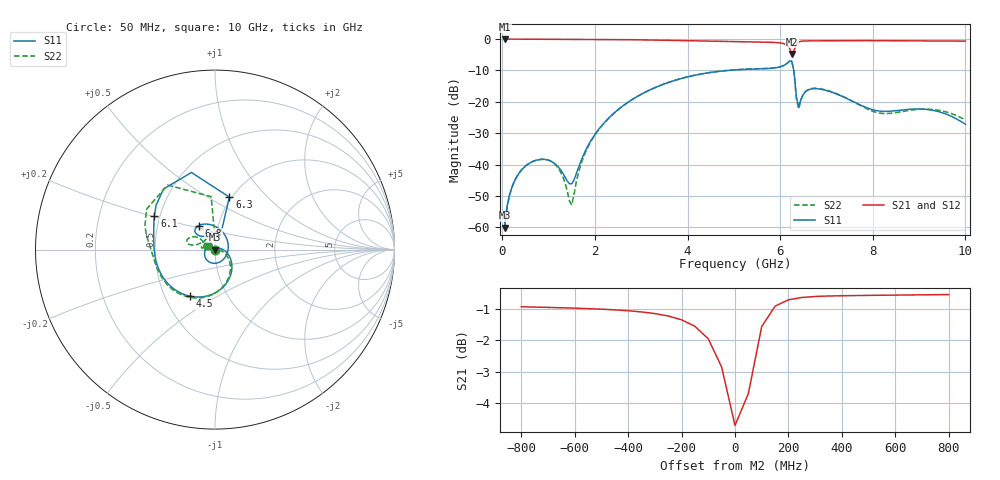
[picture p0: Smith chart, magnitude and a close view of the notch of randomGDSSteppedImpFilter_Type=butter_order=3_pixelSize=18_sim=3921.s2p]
! freq	dB(S11)	phase(S11)	dB(S12)	phase(S12)
!  dB(S21)	phase(S21)	dB(S22)	phase(S22)
!S-par simulation data
#  GHz  S  DB  R 50
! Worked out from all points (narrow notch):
!   200 points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, 50 MHz to 10 GHz, reference 50 ohm
!   highest |S21| = 0.00 dB at 50 MHz (marker M1); lowest = -4.7 dB at 6.25 GHz (marker M2)
!   notch at M2: 4.2 dB deep, 138 MHz wide at half that depth
!   lowest |S11| = -60.1 dB at 50 MHz (marker M3), VSWR 1.00, Z = 50 - j0.0965 ohm
!   |S11| at or under -10 dB: start of sweep to 4.866 GHz; 6.295 GHz to end of sweep
!   |S22| runs from -60.0 to -7.0 dB; largest |S21 - S12| = 0
!   S11 on the Smith chart (normalised r, x): 50 MHz: 1.00, -0.00; 4.5 GHz: 0.67, -0.38; 6.1 GHz: 0.47, +0.21; 6.3 GHz: 0.97, +0.63; 6.8 GHz: 0.81, +0.22; 10 GHz: 0.92, +0.03
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0.05  -60.07 -76.5  -0.00 -2.3  -0.00 -2.3  -59.95 -86.4
0.2  -47.52 -96.2  -0.01 -9.2  -0.01 -9.2  -47.59 -94.7
0.5  -40.48 -115.6  -0.03 -22.8  -0.03 -22.8  -40.38 -109.5
1.1  -39.33 -156.9  -0.06 -50.1  -0.06 -50.1  -39.44 -133.8
1.3  -42.53 178.2  -0.07 -59.2  -0.07 -59.2  -43.56 -134.6
1.5  -46.10 106.8  -0.07 -68.3  -0.07 -68.3  -52.85 -59.7
1.75  -37.03 35.4  -0.09 -79.7  -0.09 -79.7  -37.69 -2.7
2.35  -24.42 -10.0  -0.14 -107.4  -0.14 -107.4  -24.47 -21.6
3.4  -14.84 -64.4  -0.34 -156.1  -0.34 -156.1  -14.83 -67.0
4.5  -10.63 -118.0  -0.70 153.3  -0.70 153.3  -10.59 -114.7
5.05  -9.79 -144.9  -0.85 128.1  -0.85 128.1  -9.75 -138.0
6.1  -8.24 150.8  -1.55 74.8  -1.55 74.8  -8.20 168.5
6.25  -6.95 107.0  -4.71 71.6  -4.71 71.6  -7.01 126.3
6.3  -10.36 74.7  -3.69 90.3  -3.69 90.3  -10.59 94.2
6.35  -18.30 71.4  -1.56 86.4  -1.56 86.4  -19.09 92.2
6.4  -21.69 117.2  -0.91 79.4  -0.91 79.4  -22.28 146.1
6.7  -15.83 130.8  -0.57 57.2  -0.57 57.2  -15.70 163.6
6.8  -15.82 124.2  -0.56 51.8  -0.56 51.8  -15.69 160.1
7.6  -20.07 57.8  -0.50 10.8  -0.50 10.8  -20.13 143.9
8.35  -23.00 -37.7  -0.52 -27.0  -0.52 -27.0  -23.69 166.8
9.2  -22.47 -122.3  -0.60 -70.1  -0.60 -70.1  -22.33 167.6
10  -27.10 156.9  -0.65 -111.2  -0.65 -111.2  -25.76 154.2
